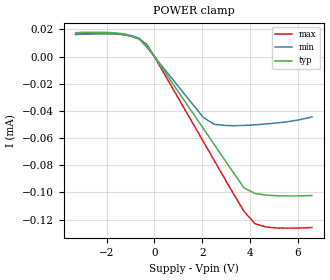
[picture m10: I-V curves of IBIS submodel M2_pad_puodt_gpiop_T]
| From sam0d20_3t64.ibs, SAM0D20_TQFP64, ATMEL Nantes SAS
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| Submodel
[Submodel]  M2_pad_puodt_gpiop_T
Submodel_type Dynamic_clamp
[POWER Clamp]
| Voltage   I(typ)   I(min)   I(max)
-3.3V     17.63uA    16.25uA    16.45uA
-1.964V   17.82uA    17.03uA    16.86uA
-1.309V   16.84uA    16.2uA     16.19uA
-654.5mV  13.69uA    13.25uA    13.26uA
-327.3mV  8.432uA    7.175uA    9.185uA
2.062V    -53.22uA   -44.89uA   -62.89uA
2.527V    -65.19uA   -49.86uA   -77.03uA
3.755V    -96.64uA   -50.64uA   -113.9uA
4.209V    -100.7uA   -50.19uA   -123uA
4.664V    -101.9uA   -49.54uA   -125.4uA
5.118V    -102.4uA   -48.82uA   -126.1uA
6.6V      -102.2uA   -44.35uA   -125.8uA
